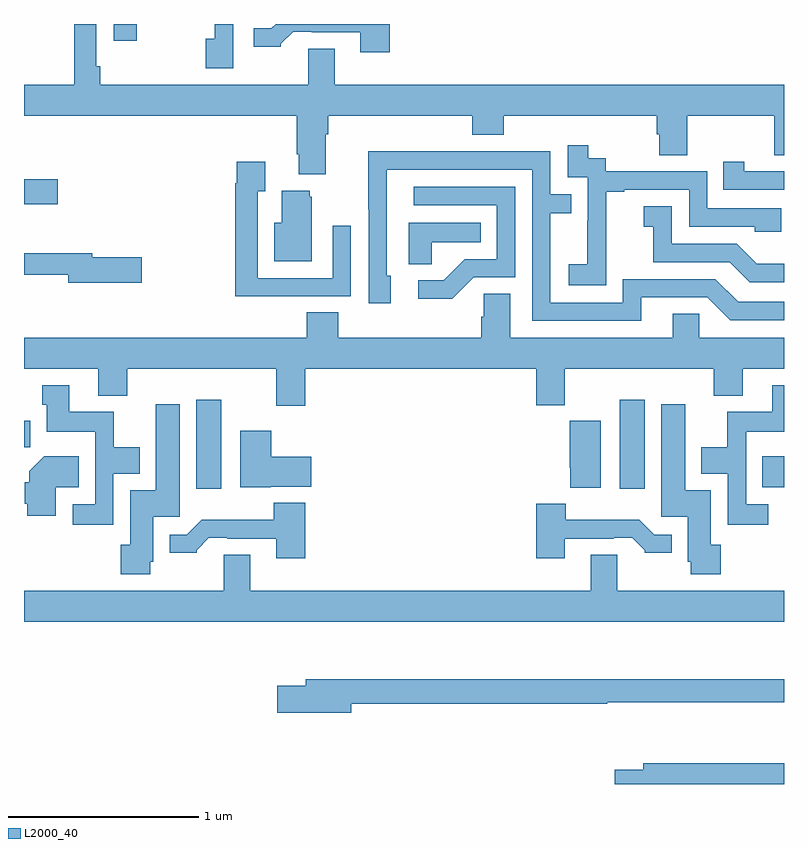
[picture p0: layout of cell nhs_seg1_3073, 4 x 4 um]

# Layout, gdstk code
import gdstk
lib = gdstk.Library(unit=1e-6, precision=1e-09)
def R(c, l, rs):  # rectangles x0, y0, x1, y1
    for r in rs: c.add(gdstk.rectangle(r[:2], r[2:], *l))
def P(c, l, *ps):  # polygons
    for p in ps: c.add(gdstk.Polygon(p, *l))
L2000_40 = (2000, 40)

nhs_seg1_3073 = lib.new_cell('nhs_seg1_3073')
R(nhs_seg1_3073, L2000_40, [(277.907,565.752,278.038,566.221), (280.136,565.752,280.267,566.221), (280.885,565.76,281,565.924), (277,565.972,277.033,566.11), (277,567.251,277.177,567.381), (277.472,568.11,277.594,568.199)])
P(nhs_seg1_3073, L2000_40, [(278.1,568.199),(278.004,568.199),(278.004,568.122),(277.957,568.122),(277.957,567.966),(278.1,567.966)],
  [(278.587,567.62),(278.6,567.62),(278.6,567.716),(279.359,567.716),(279.359,567.617),(279.524,567.617),(279.524,567.716),(280.331,567.716),(280.331,567.618),(280.343,567.618),(280.343,567.508),(280.491,567.508),(280.491,567.716),(280.948,567.716),(280.948,567.508),(281,567.508),(281,567.88),(278.635,567.88),(278.635,568.07),(278.495,568.07),(278.495,567.88),(277.4,567.88),(277.4,567.976),(277.38,567.976),(277.38,568.199),(277.264,568.199),(277.264,567.88),(277,567.88),(277,567.716),(278.435,567.716),(278.435,567.514),(278.447,567.514),(278.447,567.407),(278.587,567.407)],
  [(278.924,568.199),(278.324,568.199),(278.301,568.176),(278.208,568.176),(278.208,568.079),(278.352,568.079),(278.352,568.094),(278.416,568.158),(278.515,568.158),(278.515,568.155),(278.771,568.155),(278.771,568.05),(278.924,568.05)],
  [(280.065,567.031),(280.064,567.031),(280.064,567.315),(280.159,567.315),(280.159,567.327),(280.5,567.327),(280.5,567.132),(280.845,567.132),(280.845,567.105),(280.985,567.105),(280.985,567.228),(280.596,567.228),(280.596,567.423),(280.062,567.423),(280.062,567.492),(279.97,567.492),(279.97,567.562),(279.861,567.562),(279.861,567.393),(279.966,567.393),(279.966,567.164),(279.965,567.164),(279.965,566.935),(279.867,566.935),(279.867,566.825),(280.065,566.825)],
  [(280.249,566.76),(280.596,566.76),(280.716,566.64),(281,566.64),(281,566.736),(280.758,566.736),(280.638,566.856),(280.152,566.856),(280.152,566.733),(279.771,566.733),(279.771,567.202),(279.881,567.202),(279.881,567.303),(279.771,567.303),(279.771,567.528),(279.275,567.528),(279.275,567.53),(278.812,567.53),(278.812,567.223),(278.814,567.223),(278.814,566.73),(278.929,566.73),(278.929,566.874),(278.91,566.874),(278.91,567.432),(279.675,567.432),(279.675,566.637),(280.249,566.637)],
  [(278.405,566.766),(278.721,566.766),(278.721,567.136),(278.625,567.136),(278.625,566.862),(278.229,566.862),(278.229,567.319),(278.269,567.319),(278.269,567.475),(278.121,567.475),(278.121,567.362),(278.113,567.362),(278.113,566.765),(278.405,566.765)],
  [(281,567.423),(280.792,567.423),(280.792,567.475),(280.681,567.475),(280.681,567.327),(281,567.327)],
  [(279.366,566.865),(279.585,566.865),(279.585,567.342),(279.051,567.342),(279.051,567.246),(279.489,567.246),(279.489,566.961),(279.32,566.961),(279.209,566.85),(279.075,566.85),(279.075,566.753),(279.253,566.753)],
  [(278.515,567.291),(278.504,567.291),(278.504,567.322),(278.357,567.322),(278.357,567.154),(278.318,567.154),(278.318,566.951),(278.515,566.951)],
  [(281,566.938),(280.856,566.938),(280.752,567.042),(280.41,567.042),(280.41,567.241),(280.263,567.241),(280.263,567.131),(280.312,567.131),(280.312,566.946),(280.715,566.946),(280.82,566.841),(281,566.841)],
  [(279.147,567.05),(279.404,567.05),(279.404,567.154),(279.026,567.154),(279.026,566.935),(279.147,566.935)],
  [(277.621,566.972),(277.36,566.972),(277.36,566.993),(277,566.993),(277,566.88),(277.232,566.88),(277.232,566.837),(277.621,566.837)],
  [(278.48,566.384),(279.695,566.384),(279.695,566.192),(279.845,566.192),(279.845,566.384),(280.631,566.384),(280.631,566.243),(280.783,566.243),(280.783,566.384),(281,566.384),(281,566.548),(280.554,566.548),(280.554,566.675),(280.415,566.675),(280.415,566.548),(279.559,566.548),(279.559,566.78),(279.42,566.78),(279.42,566.657),(279.407,566.657),(279.407,566.548),(278.654,566.548),(278.654,566.681),(278.489,566.681),(278.489,566.548),(277,566.548),(277,566.384),(277.391,566.384),(277.391,566.243),(277.544,566.243),(277.544,566.384),(278.327,566.384),(278.327,566.19),(278.48,566.19)],
  [(280.918,565.671),(280.8,565.671),(280.8,566.054),(281,566.054),(281,566.299),(280.937,566.299),(280.937,566.158),(280.702,566.158),(280.702,565.972),(280.565,565.972),(280.565,565.832),(280.704,565.832),(280.704,565.563),(280.918,565.563)],
  [(277.47,565.832),(277.609,565.832),(277.609,565.972),(277.473,565.972),(277.473,566.158),(277.237,566.158),(277.237,566.299),(277.097,566.299),(277.097,566.196),(277.121,566.196),(277.121,566.054),(277.374,566.054),(277.374,565.671),(277.257,565.671),(277.257,565.563),(277.47,565.563)],
  [(280.667,565.458),(280.615,565.458),(280.615,565.744),(280.48,565.744),(280.48,566.197),(280.355,566.197),(280.355,565.605),(280.493,565.605),(280.493,565.368),(280.51,565.368),(280.51,565.302),(280.667,565.302)],
  [(277.665,565.368),(277.681,565.368),(277.681,565.605),(277.819,565.605),(277.819,566.197),(277.694,566.197),(277.694,565.744),(277.559,565.744),(277.559,565.458),(277.508,565.458),(277.508,565.302),(277.665,565.302)],
  [(280.036,566.11),(279.872,566.11),(279.872,565.864),(279.874,565.864),(279.874,565.757),(280.036,565.757)],
  [(278.298,565.763),(278.512,565.763),(278.512,565.921),(278.302,565.921),(278.302,566.059),(278.138,566.059),(278.138,565.76),(278.298,565.76)],
  [(277.168,565.76),(277.289,565.76),(277.289,565.924),(277.106,565.924),(277.028,565.846),(277.028,565.788),(277.003,565.788),(277.003,565.674),(277.016,565.674),(277.016,565.61),(277.168,565.61)],
  [(278.48,565.678),(278.315,565.678),(278.315,565.591),(277.936,565.591),(277.857,565.512),(277.766,565.512),(277.766,565.415),(277.908,565.415),(277.908,565.43),(277.972,565.494),(278.071,565.494),(278.071,565.491),(278.327,565.491),(278.327,565.386),(278.48,565.386)],
  [(279.847,565.491),(280.103,565.491),(280.103,565.494),(280.202,565.494),(280.266,565.43),(280.266,565.415),(280.408,565.415),(280.408,565.512),(280.317,565.512),(280.239,565.591),(279.85,565.591),(279.85,565.675),(279.695,565.675),(279.695,565.386),(279.847,565.386)],
  [(281,565.216),(280.123,565.216),(280.123,565.406),(279.983,565.406),(279.983,565.216),(278.191,565.216),(278.191,565.406),(278.051,565.406),(278.051,565.216),(277,565.216),(277,565.052),(281,565.052)],
  [(278.722,564.622),(280.071,564.622),(280.071,564.63),(281,564.63),(281,564.751),(278.483,564.751),(278.483,564.717),(278.334,564.717),(278.334,564.575),(278.722,564.575)],
  [(281,564.307),(280.259,564.307),(280.259,564.273),(280.11,564.273),(280.11,564.199),(281,564.199)])

lib.write_gds('nhs_seg1_3073.gds')
